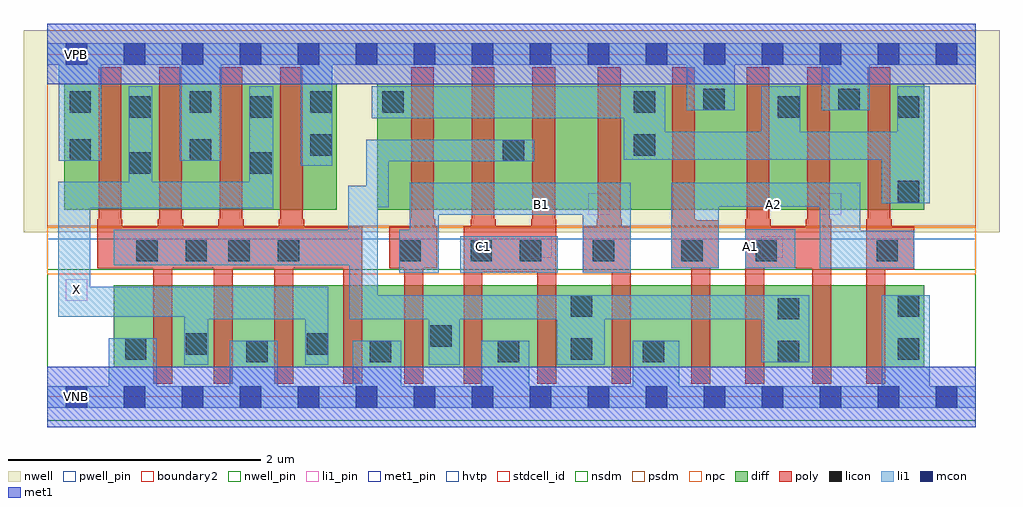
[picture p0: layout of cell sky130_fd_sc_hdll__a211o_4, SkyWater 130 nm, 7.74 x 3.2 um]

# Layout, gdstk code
import gdstk
lib = gdstk.Library(unit=1e-6, precision=1e-09)
def R(c, l, rs):  # rectangles x0, y0, x1, y1
    for r in rs: c.add(gdstk.rectangle(r[:2], r[2:], *l))
def A(c, l, x, y, w, h, nx, ny, dx, dy):  # array of equal rectangles
    R(c, l, [(x+i*dx, y+j*dy, x+i*dx+w, y+j*dy+h) for i in range(nx) for j in range(ny)])
def P(c, l, *ps):  # polygons
    for p in ps: c.add(gdstk.Polygon(p, *l))
nwell_pin = (64, 16)
nwell = (64, 20)
diff = (65, 20)
poly = (66, 20)
licon = (66, 44)
li1_pin = (67, 16)
li1 = (67, 20)
mcon = (67, 44)
met1_pin = (68, 16)
met1 = (68, 20)
hvtp = (78, 44)
stdcell_id = (81, 4)
nsdm = (93, 44)
psdm = (94, 20)
npc = (95, 20)
pwell_pin = (122, 16)
boundary2 = (236, 0)

sky130_fd_sc_hdll__a211o = lib.new_cell('sky130_fd_sc_hdll__a211o_4')
R(sky130_fd_sc_hdll__a211o, nwell_pin, [(0.145,2.635,0.315,2.805)])
R(sky130_fd_sc_hdll__a211o, nwell, [(-0.19,1.305,7.55,2.91)])
R(sky130_fd_sc_hdll__a211o, diff, [(0.525,0.235,6.955,0.885), (0.135,1.485,2.295,2.485), (2.615,1.485,6.955,2.485)])
P(sky130_fd_sc_hdll__a211o, poly, [(2.495,1.35),(2.035,1.35),(2.035,1.41),(2.025,1.41),(2.025,2.615),(1.845,2.615),(1.845,1.41),(1.835,1.41),(1.835,1.35),(1.555,1.35),(1.555,1.41),(1.545,1.41),(1.545,2.615),(1.365,2.615),(1.365,1.41),(1.355,1.41),(1.355,1.35),(1.075,1.35),(1.075,1.41),(1.065,1.41),(1.065,2.615),(0.885,2.615),(0.885,1.41),(0.875,1.41),(0.875,1.35),(0.595,1.35),(0.595,1.41),(0.585,1.41),(0.585,2.615),(0.405,2.615),(0.405,1.41),(0.395,1.41),(0.395,1.02),(0.84,1.02),(0.84,0.105),(0.99,0.105),(0.99,1.02),(1.32,1.02),(1.32,0.105),(1.47,0.105),(1.47,1.02),(1.8,1.02),(1.8,0.105),(1.95,0.105),(1.95,1.02),(2.345,1.02),(2.345,0.105),(2.495,0.105)],
  [(3.09,1.35),(3.075,1.35),(3.075,1.41),(3.065,1.41),(3.065,2.615),(2.885,2.615),(2.885,1.41),(2.875,1.41),(2.875,1.35),(2.71,1.35),(2.71,1.02),(2.83,1.02),(2.83,0.105),(2.98,0.105),(2.98,1.02),(3.09,1.02)],
  [(4.035,1.41),(4.025,1.41),(4.025,2.615),(3.845,2.615),(3.845,1.41),(3.835,1.41),(3.835,1.355),(3.555,1.355),(3.555,1.41),(3.545,1.41),(3.545,2.615),(3.365,2.615),(3.365,1.41),(3.355,1.41),(3.355,1.355),(3.3,1.355),(3.3,0.105),(3.45,0.105),(3.45,0.99),(3.885,0.99),(3.885,0.105),(4.035,0.105)],
  [(4.625,1.35),(4.555,1.35),(4.555,1.41),(4.545,1.41),(4.545,2.615),(4.365,2.615),(4.365,1.41),(4.355,1.41),(4.355,1.35),(4.245,1.35),(4.245,0.985),(4.475,0.985),(4.475,0.105),(4.625,0.105)],
  [(5.325,1.4),(5.145,1.4),(5.145,1.41),(5.135,1.41),(5.135,2.615),(4.955,2.615),(4.955,1.41),(4.945,1.41),(4.945,1.02),(5.105,1.02),(5.105,0.105),(5.255,0.105),(5.255,1.02),(5.325,1.02)],
  [(6.215,1.41),(6.205,1.41),(6.205,2.615),(6.025,2.615),(6.025,1.41),(6.015,1.41),(6.015,1.35),(5.735,1.35),(5.735,1.41),(5.725,1.41),(5.725,2.615),(5.545,2.615),(5.545,1.41),(5.535,1.41),(5.535,0.105),(5.685,0.105),(5.685,1.02),(6.065,1.02),(6.065,0.105),(6.215,0.105)],
  [(6.875,1.35),(6.695,1.35),(6.695,1.41),(6.685,1.41),(6.685,2.615),(6.505,2.615),(6.505,1.41),(6.495,1.41),(6.495,0.105),(6.645,0.105),(6.645,1.01),(6.875,1.01)])
A(sky130_fd_sc_hdll__a211o, licon, 0.175, 2.255, 0.17, 0.17, 3, 1, 0.955, 0)
R(sky130_fd_sc_hdll__a211o, licon, [(1.575,0.275,1.745,0.445), (2.555,0.275,2.725,0.445), (3.57,0.275,3.74,0.445), (4.72,0.275,4.89,0.445), (5.79,0.275,5.96,0.445), (0.615,0.295,0.785,0.465), (4.15,0.295,4.32,0.465), (6.745,0.295,6.915,0.465), (1.095,0.335,1.265,0.505), (2.055,0.335,2.225,0.505), (3.035,0.4,3.205,0.57), (5.79,0.615,5.96,0.785), (4.15,0.635,4.32,0.805), (6.745,0.635,6.915,0.805), (0.705,1.075,0.875,1.245), (1.095,1.075,1.265,1.245), (1.435,1.075,1.605,1.245), (1.825,1.075,1.995,1.245), (2.79,1.075,2.96,1.245), (3.355,1.075,3.525,1.245), (3.745,1.075,3.915,1.245), (4.325,1.075,4.495,1.245), (5.025,1.075,5.195,1.245), (5.615,1.075,5.785,1.245), (6.575,1.075,6.745,1.245), (6.745,1.545,6.915,1.715), (0.65,1.77,0.82,1.94), (1.61,1.77,1.78,1.94), (3.61,1.87,3.78,2.04), (0.175,1.875,0.345,2.045), (1.13,1.875,1.3,2.045), (2.085,1.915,2.255,2.085), (4.65,1.915,4.82,2.085), (0.65,2.215,0.82,2.385), (1.61,2.215,1.78,2.385), (5.79,2.215,5.96,2.385), (6.745,2.215,6.915,2.385), (2.655,2.255,2.825,2.425), (4.65,2.255,4.82,2.425), (5.2,2.275,5.37,2.445), (6.27,2.275,6.44,2.445)])
R(sky130_fd_sc_hdll__a211o, li1_pin, [(0.145,0.765,0.315,0.935), (3.83,1.105,4,1.275), (5.66,1.105,5.83,1.275), (4.29,1.445,4.46,1.615), (6.125,1.445,6.295,1.615)])
R(sky130_fd_sc_hdll__a211o, li1, [(3.275,0.985,4.045,1.275), (5.535,1.02,5.93,1.33)])
P(sky130_fd_sc_hdll__a211o, li1, [(7.36,0.085),(6.995,0.085),(6.995,0.805),(6.615,0.805),(6.615,0.085),(5.01,0.085),(5.01,0.445),(4.64,0.445),(4.64,0.085),(3.82,0.085),(3.82,0.445),(3.44,0.445),(3.44,0.085),(2.805,0.085),(2.805,0.445),(2.42,0.445),(2.42,0.085),(1.825,0.085),(1.825,0.445),(1.445,0.445),(1.445,0.085),(0.865,0.085),(0.865,0.465),(0.485,0.465),(0.485,0.085),(0,0.085),(0,-0.085),(7.36,-0.085)],
  [(7.36,2.805),(0,2.805),(0,2.635),(0.09,2.635),(0.09,1.875),(0.425,1.875),(0.425,2.635),(1.05,2.635),(1.05,1.875),(1.38,1.875),(1.38,2.635),(2.01,2.635),(2.01,1.835),(2.26,1.835),(2.26,2.635),(5.07,2.635),(5.07,2.275),(5.45,2.275),(5.45,2.635),(6.14,2.635),(6.14,2.275),(6.52,2.275),(6.52,2.635),(7.36,2.635)],
  [(2.225,0.875),(0.34,0.875),(0.34,1.495),(1.79,1.495),(1.79,2.465),(1.6,2.465),(1.6,1.705),(0.83,1.705),(0.83,2.465),(0.645,2.465),(0.645,1.705),(0.085,1.705),(0.085,0.635),(1.085,0.635),(1.085,0.255),(1.275,0.255),(1.275,0.615),(2.045,0.615),(2.045,0.255),(2.225,0.255)],
  [(6.04,0.805),(2.62,0.805),(2.62,1.505),(2.705,1.505),(2.705,1.87),(3.86,1.87),(3.86,2.04),(2.53,2.04),(2.53,1.675),(2.385,1.675),(2.385,1.325),(0.525,1.325),(0.525,1.045),(2.395,1.045),(2.395,0.615),(3.025,0.615),(3.025,0.255),(3.27,0.255),(3.27,0.615),(4.04,0.615),(4.04,0.255),(4.42,0.255),(4.42,0.615),(5.66,0.615),(5.66,0.275),(6.04,0.275)],
  [(4.625,1.7),(2.875,1.7),(2.875,1.325),(2.79,1.325),(2.79,0.985),(3.105,0.985),(3.105,1.445),(4.245,1.445),(4.245,0.985),(4.625,0.985)],
  [(6.875,1.32),(6.445,1.32),(6.445,1.7),(4.945,1.7),(4.945,1.02),(5.325,1.02),(5.325,1.51),(6.125,1.51),(6.125,1.02),(6.875,1.02)],
  [(6.995,2.465),(6.74,2.465),(6.74,2.105),(5.97,2.105),(5.97,2.465),(5.66,2.465),(5.66,2.105),(4.9,2.105),(4.9,2.465),(2.57,2.465),(2.57,2.21),(4.57,2.21),(4.57,1.88),(6.615,1.88),(6.615,1.535),(6.995,1.535)])
A(sky130_fd_sc_hdll__a211o, mcon, 0.145, -0.085, 0.17, 0.17, 16, 2, 0.46, 2.72)
R(sky130_fd_sc_hdll__a211o, met1_pin, [(0.145,-0.085,0.315,0.085), (0.145,2.635,0.315,2.805)])
R(sky130_fd_sc_hdll__a211o, met1, [(0,-0.24,7.36,0.24), (0,2.48,7.36,2.96)])
R(sky130_fd_sc_hdll__a211o, hvtp, [(0,1.25,7.36,2.72)])
R(sky130_fd_sc_hdll__a211o, stdcell_id, [(0,0,7.36,2.72)])
R(sky130_fd_sc_hdll__a211o, nsdm, [(0,-0.19,7.36,1.015)])
R(sky130_fd_sc_hdll__a211o, psdm, [(0,1.355,7.36,2.91)])
R(sky130_fd_sc_hdll__a211o, npc, [(0,0.975,7.36,1.345)])
R(sky130_fd_sc_hdll__a211o, pwell_pin, [(0.145,-0.085,0.315,0.085)])
R(sky130_fd_sc_hdll__a211o, boundary2, [(0,0,7.36,2.72)])
sky130_fd_sc_hdll__a211o.add(gdstk.Label('VNB', (0.23,0), layer=64, texttype=59))
sky130_fd_sc_hdll__a211o.add(gdstk.Label('VPB', (0.23,2.72), layer=64, texttype=5))
sky130_fd_sc_hdll__a211o.add(gdstk.Label('VGND', (0.23,0), layer=68, texttype=5))
sky130_fd_sc_hdll__a211o.add(gdstk.Label('VPWR', (0.23,2.72), layer=68, texttype=5))
sky130_fd_sc_hdll__a211o.add(gdstk.Label('C1', (3.455,1.19), layer=67, texttype=5))
sky130_fd_sc_hdll__a211o.add(gdstk.Label('B1', (3.915,1.53), layer=67, texttype=5))
sky130_fd_sc_hdll__a211o.add(gdstk.Label('X', (0.23,0.85), layer=67, texttype=5))
sky130_fd_sc_hdll__a211o.add(gdstk.Label('A2', (5.755,1.53), layer=67, texttype=5))
sky130_fd_sc_hdll__a211o.add(gdstk.Label('A1', (5.575,1.19), layer=67, texttype=5))
sky130_fd_sc_hdll__a211o.add(gdstk.Label('a211o_4', (0,0), layer=83, texttype=44))

lib.write_gds('sky130_fd_sc_hdll__a211o_4.gds')
